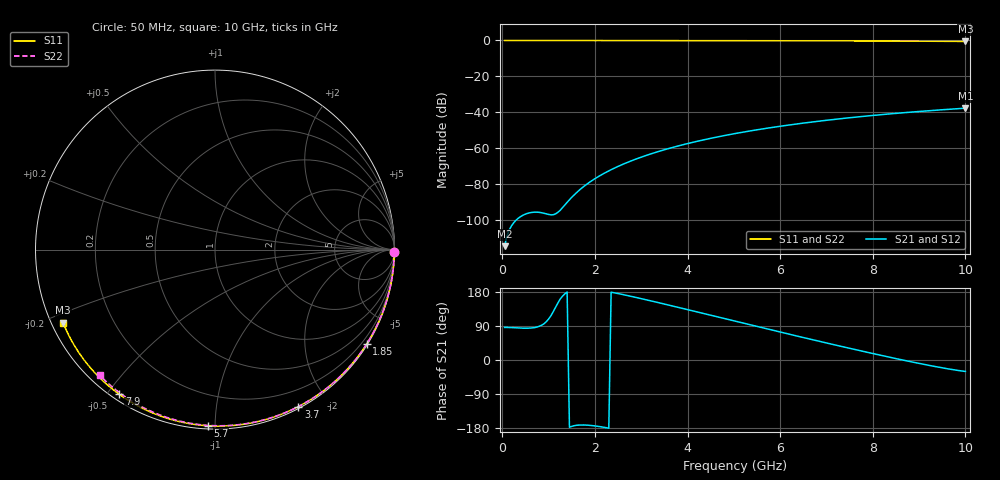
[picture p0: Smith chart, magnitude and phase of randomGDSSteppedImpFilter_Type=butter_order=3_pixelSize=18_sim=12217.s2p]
! freq	dB(S11)	phase(S11)	dB(S12)	phase(S12)
!  dB(S21)	phase(S21)	dB(S22)	phase(S22)
!S-par simulation data
#  GHz  S  DB  R 50
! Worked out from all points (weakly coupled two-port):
!   200 points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, 50 MHz to 10 GHz, reference 50 ohm
!   highest |S21| = -37.75 dB at 10 GHz (marker M1); lowest = -114.6 dB at 50 MHz (marker M2)
!   lowest |S11| = -0.5 dB at 10 GHz (marker M3), VSWR 31.77, Z = 1.66 - j11.4 ohm
!   |S11| at or under -10 dB: nowhere
!   |S22| runs from -0.5 to 0.0 dB; largest |S21 - S12| = 0
!   S11 on the Smith chart (normalised r, x): 50 MHz: open; 1.85 GHz: 0.03, -3.50; 3.7 GHz: 0.02, -1.66; 5.7 GHz: 0.02, -0.96; 7.9 GHz: 0.02, -0.54; 10 GHz: 0.03, -0.23
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0.05  -0.01 -0.9  -114.62 86.0  -114.62 86.0  -0.00 -0.8
0.45  -0.01 -7.9  -97.33 83.9  -97.33 83.9  -0.01 -6.9
0.9  -0.02 -15.7  -96.27 95.5  -96.27 95.5  -0.02 -13.7
1.75  -0.04 -30.2  -81.56 -171.5  -81.56 -171.5  -0.03 -26.4
1.8  -0.04 -31.0  -80.56 -171.7  -80.56 -171.7  -0.03 -27.2
1.85  -0.04 -31.9  -79.62 -172.1  -79.62 -172.1  -0.04 -27.9
2  -0.04 -34.4  -77.02 -174.0  -77.02 -174.0  -0.04 -30.1
2.15  -0.05 -36.9  -74.73 -176.7  -74.73 -176.7  -0.04 -32.3
2.5  -0.05 -42.7  -70.18 175.3  -70.18 175.3  -0.05 -37.4
2.9  -0.06 -49.3  -65.95 164.7  -65.95 164.7  -0.06 -43.2
3.4  -0.08 -57.3  -61.65 150.6  -61.65 150.6  -0.07 -50.3
3.7  -0.08 -62.1  -59.45 141.8  -59.45 141.8  -0.07 -54.5
4.35  -0.10 -72.2  -55.37 122.6  -55.37 122.6  -0.09 -63.5
5.05  -0.13 -82.7  -51.77 101.8  -51.77 101.8  -0.11 -72.8
5.7  -0.15 -92.3  -48.96 82.6  -48.96 82.6  -0.14 -81.3
6.2  -0.18 -99.5  -47.09 68.0  -47.09 68.0  -0.16 -87.6
6.7  -0.21 -106.6  -45.41 53.5  -45.41 53.5  -0.18 -93.9
7.3  -0.25 -115.1  -43.61 36.4  -43.61 36.4  -0.22 -101.2
7.9  -0.29 -123.4  -42.03 19.8  -42.03 19.8  -0.26 -108.3
8.35  -0.33 -129.8  -40.96 7.7  -40.96 7.7  -0.29 -113.6
9.2  -0.43 -141.9  -39.18 -13.8  -39.18 -13.8  -0.37 -123.5
10  -0.55 -154.3  -37.75 -30.3  -37.75 -30.3  -0.45 -132.6
